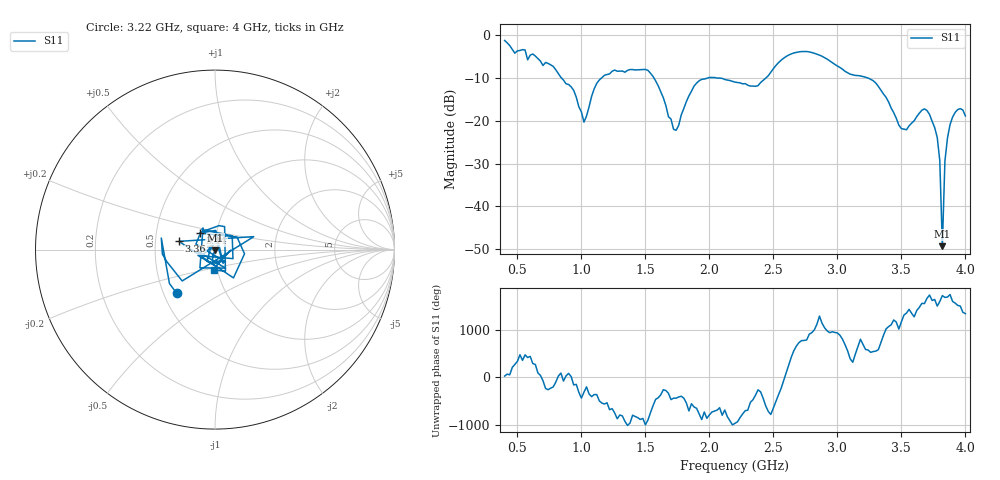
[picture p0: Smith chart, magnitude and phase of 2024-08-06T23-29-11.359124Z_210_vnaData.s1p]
!Created with skrf (http://scikit-rf.org).
# Hz S RI R 50.0
!freq ReS11 ImS11
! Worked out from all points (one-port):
!   181 points, 400 MHz to 4 GHz, reference 50 ohm
!   lowest |S11| = -49.3 dB at 3.82 GHz (marker M1), VSWR 1.01, Z = 50.1 - j0.326 ohm
!   |S11| at or under -10 dB: 1.567 GHz to 1.986 GHz (418.9 MHz wide, 23.6 % of centre); 2.081 GHz to 2.441 GHz (359.5 MHz wide, 15.9 % of centre); 3.24 GHz to end of sweep (the widest 3 of 5)
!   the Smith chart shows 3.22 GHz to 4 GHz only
!   S11 on the Smith chart (normalised r, x): 3.22 GHz: 0.58, -0.32; 3.36 GHz: 0.66, +0.06; 3.44 GHz: 0.83, +0.16; 4 GHz: 0.96, -0.22
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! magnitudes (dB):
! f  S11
! 400 MHz  -1.2
! 860 MHz  -10.5
! 940 MHz  -12.9
! 1.02 GHz  -20.3
! 1.12 GHz  -11.2
! 1.3 GHz  -8.4
! 1.52 GHz  -8.2
! 1.6 GHz  -11.8
! 1.72 GHz  -22.0
! 1.76 GHz  -21.1
! 1.92 GHz  -10.6
! 2.2 GHz  -10.9
! 2.38 GHz  -11.8
! 2.66 GHz  -4.1
! 3.1 GHz  -9.1
! 3.22 GHz  -9.8
! 3.36 GHz  -13.7
! 3.44 GHz  -18.1
! 3.5 GHz  -21.8
! 3.56 GHz  -21.2
! 3.68 GHz  -17.2
! 3.76 GHz  -21.6
! 3.8 GHz  -29.3
! 3.82 GHz  -49.3
! 3.84 GHz  -29.4
! 3.86 GHz  -24.0
! 3.92 GHz  -18.0
! 4 GHz  -18.9
